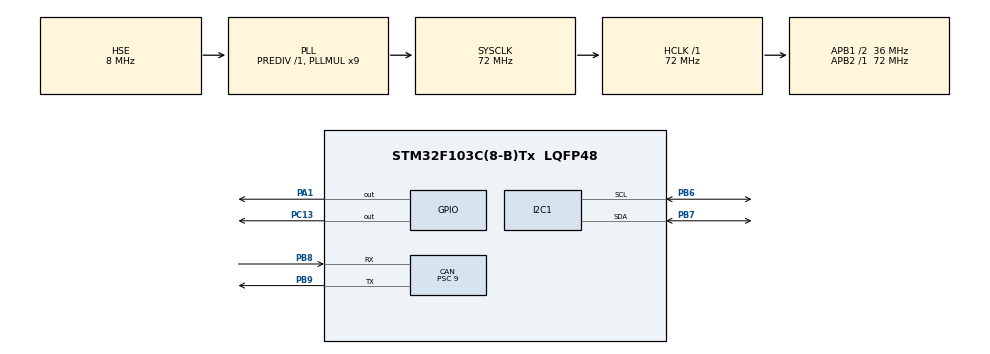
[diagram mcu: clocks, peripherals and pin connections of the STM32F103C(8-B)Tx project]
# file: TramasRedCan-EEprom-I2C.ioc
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CAN.BS1=CAN_BS1_4TQ
CAN.BS2=CAN_BS2_3TQ
CAN.CalculateBaudRate=500000
CAN.CalculateTimeBit=2000
CAN.CalculateTimeQuantum=250.0
CAN.Prescaler=9
Mcu.Family=STM32F1
Mcu.Name=STM32F103C(8-B)Tx
Mcu.Package=LQFP48
NVIC.I2C1_EV_IRQn=true\:0\:0\:false\:false\:true\:true\:true\:true
NVIC.PriorityGroup=NVIC_PRIORITYGROUP_4
NVIC.USB_LP_CAN1_RX0_IRQn=true\:0\:0\:false\:false\:true\:true\:true\:true
PA1.GPIO_PuPd=GPIO_NOPULL
PA1.Signal=GPIO_Output
PA13.Mode=Serial_Wire
PA13.Signal=SYS_JTMS-SWDIO
PA14.Mode=Serial_Wire
PA14.Signal=SYS_JTCK-SWCLK
PB6.Mode=I2C
PB6.Signal=I2C1_SCL
PB7.Mode=I2C
PB7.Signal=I2C1_SDA
PB8.Mode=CAN_Activate
PB8.Signal=CAN_RX
PB9.Mode=CAN_Activate
PB9.Signal=CAN_TX
PC13-TAMPER-RTC.Signal=GPIO_Output
PD0-OSC_IN.Mode=HSE-External-Oscillator
PD0-OSC_IN.Signal=RCC_OSC_IN
PD1-OSC_OUT.Mode=HSE-External-Oscillator
PD1-OSC_OUT.Signal=RCC_OSC_OUT
ProjectManager.HeapSize=0x200
ProjectManager.StackSize=0x400
ProjectManager.TargetToolchain=STM32CubeIDE
RCC.AHBFreq_Value=72000000
RCC.APB1CLKDivider=RCC_HCLK_DIV2
RCC.APB1Freq_Value=36000000
RCC.APB1TimFreq_Value=72000000
RCC.APB2Freq_Value=72000000
RCC.APB2TimFreq_Value=72000000
RCC.HCLKFreq_Value=72000000
RCC.PLLMUL=RCC_PLL_MUL9
RCC.PLLSourceVirtual=RCC_PLLSOURCE_HSE
RCC.SYSCLKFreq_VALUE=72000000
RCC.SYSCLKSource=RCC_SYSCLKSOURCE_PLLCLK
RCC.USBFreq_Value=72000000
board=custom

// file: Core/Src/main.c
/* USER CODE BEGIN Header */
/**
  ******************************************************************************
  * @file           : main.c
  * @brief          : Main program body
  ******************************************************************************
  * @attention
  *
  * Copyright (c) 2022 STMicroelectronics.
  * All rights reserved.
  *
  * This software is licensed under terms that can be found in the LICENSE file
  * in the root directory of this software component.
  * If no LICENSE file comes with this software, it is provided AS-IS.
  *
  ******************************************************************************
  */
/* USER CODE END Header */
#include "main.h"

CAN_HandleTypeDef hcan;

I2C_HandleTypeDef hi2c1;

/* USER CODE BEGIN PV */
CAN_TxHeaderTypeDef TxHeader;
CAN_RxHeaderTypeDef RxHeader;
CAN_FilterTypeDef sFilterConfig;

uint8_t flag=0;
uint8_t Data=0;
uint8_t r=0;
uint8_t result=0;
uint32_t TxMailbox;
uint8_t TxData;

/* USER CODE END PV */

void SystemClock_Config(void);
static void MX_GPIO_Init(void);
static void MX_CAN_Init(void);
static void MX_I2C1_Init(void);

int main(void)
{
  /* USER CODE BEGIN 1 */
	TxHeader.StdId=0xc1;
	TxHeader.DLC=1;
	TxData=0x12;
	TxHeader.ExtId=0;
	TxHeader.IDE=CAN_ID_STD;
	TxHeader.RTR=CAN_RTR_DATA;
	TxHeader.TransmitGlobalTime=DISABLE;
  /* USER CODE END 1 */

  /* MCU Configuration--------------------------------------------------------*/

  /* Reset of all peripherals, Initializes the Flash interface and the Systick. */
  HAL_Init();

  /* Configure the system clock */
  SystemClock_Config();

  /* Initialize all configured peripherals */
  MX_GPIO_Init();
  MX_CAN_Init();
  MX_I2C1_Init();
  /* USER CODE BEGIN 2 */
  sFilterConfig.FilterFIFOAssignment=CAN_FILTER_FIFO0;
  sFilterConfig.FilterBank=0;
  sFilterConfig.FilterIdHigh=0x245<<5;
  sFilterConfig.FilterIdLow=0;
  sFilterConfig.FilterScale=CAN_FILTERSCALE_32BIT;
  sFilterConfig.FilterMode = CAN_FILTERMODE_IDLIST;
  sFilterConfig.FilterActivation=CAN_FILTER_ENABLE;

  HAL_CAN_ConfigFilter(&hcan, &sFilterConfig);

  HAL_CAN_Start(&hcan);
  HAL_CAN_ActivateNotification(&hcan, CAN_IT_RX_FIFO0_MSG_PENDING);
  HAL_GPIO_WritePin(GPIOA, GPIO_PIN_1, GPIO_PIN_RESET);
  /* USER CODE END 2 */

  /* Infinite loop */
  /* USER CODE BEGIN WHILE */
  while (1)
  {
	  //if(flag==1)
	 //{
		  //HAL_I2C_Mem_Write(&hi2c1, 0xA1, 0x00, 1, &Data, sizeof(Data), HAL_MAX_DELAY);
		  //HAL_Delay(100);
		  //HAL_I2C_Mem_Read(&hi2c1, 0xA0, 0x00, 1, &result, sizeof(result), HAL_MAX_DELAY);

	  	  HAL_GPIO_WritePin(GPIOC, GPIO_PIN_13, GPIO_PIN_SET);
		  HAL_CAN_AddTxMessage(&hcan, &TxHeader, &TxData, &TxMailbox);
		  HAL_Delay(100);
		  HAL_GPIO_WritePin(GPIOC, GPIO_PIN_13, GPIO_PIN_RESET);
		  HAL_Delay(100);
		  //flag=0;
	  //}

    /* USER CODE END WHILE */

  }
}

void SystemClock_Config(void)
{
  RCC_OscInitTypeDef RCC_OscInitStruct = {0};
  RCC_ClkInitTypeDef RCC_ClkInitStruct = {0};

  /** Initializes the RCC Oscillators according to the specified parameters
  * in the RCC_OscInitTypeDef structure.
  */
  RCC_OscInitStruct.OscillatorType = RCC_OSCILLATORTYPE_HSE;
  RCC_OscInitStruct.HSEState = RCC_HSE_ON;
  RCC_OscInitStruct.HSEPredivValue = RCC_HSE_PREDIV_DIV1;
  RCC_OscInitStruct.HSIState = RCC_HSI_ON;
  RCC_OscInitStruct.PLL.PLLState = RCC_PLL_ON;
  RCC_OscInitStruct.PLL.PLLSource = RCC_PLLSOURCE_HSE;
  RCC_OscInitStruct.PLL.PLLMUL = RCC_PLL_MUL9;
  if (HAL_RCC_OscConfig(&RCC_OscInitStruct) != HAL_OK)
  {
    Error_Handler();
  }

  /** Initializes the CPU, AHB and APB buses clocks
  */
  RCC_ClkInitStruct.ClockType = RCC_CLOCKTYPE_HCLK|RCC_CLOCKTYPE_SYSCLK
                              |RCC_CLOCKTYPE_PCLK1|RCC_CLOCKTYPE_PCLK2;
  RCC_ClkInitStruct.SYSCLKSource = RCC_SYSCLKSOURCE_PLLCLK;
  RCC_ClkInitStruct.AHBCLKDivider = RCC_SYSCLK_DIV1;
  RCC_ClkInitStruct.APB1CLKDivider = RCC_HCLK_DIV2;
  RCC_ClkInitStruct.APB2CLKDivider = RCC_HCLK_DIV1;

  if (HAL_RCC_ClockConfig(&RCC_ClkInitStruct, FLASH_LATENCY_2) != HAL_OK)
  {
    Error_Handler();
  }
}

static void MX_CAN_Init(void)
{

  hcan.Instance = CAN1;
  hcan.Init.Prescaler = 9;
  hcan.Init.Mode = CAN_MODE_NORMAL;
  hcan.Init.SyncJumpWidth = CAN_SJW_1TQ;
  hcan.Init.TimeSeg1 = CAN_BS1_4TQ;
  hcan.Init.TimeSeg2 = CAN_BS2_3TQ;
  hcan.Init.TimeTriggeredMode = DISABLE;
  hcan.Init.AutoBusOff = DISABLE;
  hcan.Init.AutoWakeUp = DISABLE;
  hcan.Init.AutoRetransmission = DISABLE;
  hcan.Init.ReceiveFifoLocked = DISABLE;
  hcan.Init.TransmitFifoPriority = DISABLE;
  if (HAL_CAN_Init(&hcan) != HAL_OK)
  {
    Error_Handler();
  }

}

static void MX_I2C1_Init(void)
{

  hi2c1.Instance = I2C1;
  hi2c1.Init.ClockSpeed = 100000;
  hi2c1.Init.DutyCycle = I2C_DUTYCYCLE_2;
  hi2c1.Init.OwnAddress1 = 0;
  hi2c1.Init.AddressingMode = I2C_ADDRESSINGMODE_7BIT;
  hi2c1.Init.DualAddressMode = I2C_DUALADDRESS_DISABLE;
  hi2c1.Init.OwnAddress2 = 0;
  hi2c1.Init.GeneralCallMode = I2C_GENERALCALL_DISABLE;
  hi2c1.Init.NoStretchMode = I2C_NOSTRETCH_DISABLE;
  if (HAL_I2C_Init(&hi2c1) != HAL_OK)
  {
    Error_Handler();
  }

}

static void MX_GPIO_Init(void)
{
  GPIO_InitTypeDef GPIO_InitStruct = {0};

  /* GPIO Ports Clock Enable */
  __HAL_RCC_GPIOC_CLK_ENABLE();
  __HAL_RCC_GPIOD_CLK_ENABLE();
  __HAL_RCC_GPIOA_CLK_ENABLE();
  __HAL_RCC_GPIOB_CLK_ENABLE();

  /*Configure GPIO pin Output Level */
  HAL_GPIO_WritePin(GPIOC, GPIO_PIN_13, GPIO_PIN_RESET);

  /*Configure GPIO pin Output Level */
  HAL_GPIO_WritePin(GPIOA, GPIO_PIN_1, GPIO_PIN_RESET);

  /*Configure GPIO pin : PC13 */
  GPIO_InitStruct.Pin = GPIO_PIN_13;
  GPIO_InitStruct.Mode = GPIO_MODE_OUTPUT_PP;
  GPIO_InitStruct.Pull = GPIO_NOPULL;
  GPIO_InitStruct.Speed = GPIO_SPEED_FREQ_LOW;
  HAL_GPIO_Init(GPIOC, &GPIO_InitStruct);

  /*Configure GPIO pin : PA1 */
  GPIO_InitStruct.Pin = GPIO_PIN_1;
  GPIO_InitStruct.Mode = GPIO_MODE_OUTPUT_PP;
  GPIO_InitStruct.Pull = GPIO_NOPULL;
  GPIO_InitStruct.Speed = GPIO_SPEED_FREQ_LOW;
  HAL_GPIO_Init(GPIOA, &GPIO_InitStruct);

}

void Error_Handler(void)
{
  __disable_irq();
  while (1)
  {
  }
}
